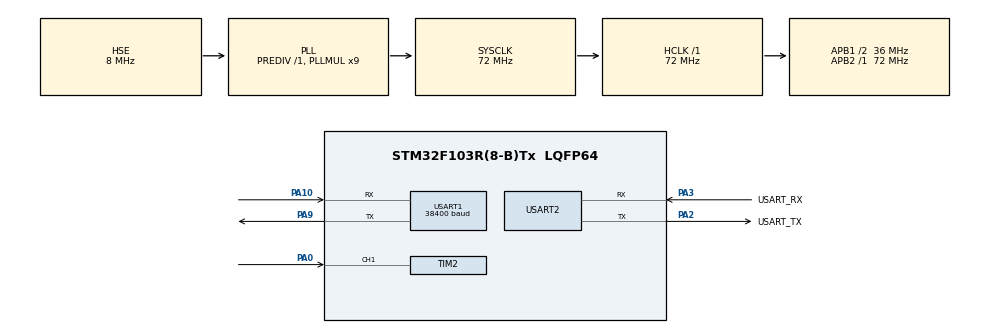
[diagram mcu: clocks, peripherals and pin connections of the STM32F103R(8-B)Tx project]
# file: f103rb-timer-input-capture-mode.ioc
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Mcu.Family=STM32F1
Mcu.Name=STM32F103R(8-B)Tx
Mcu.Package=LQFP64
NVIC.PriorityGroup=NVIC_PRIORITYGROUP_4
NVIC.TIM2_IRQn=true\:0\:0\:false\:false\:true\:true\:true\:true
PA0-WKUP.Signal=S_TIM2_CH1_ETR
PA10.Mode=Asynchronous
PA10.Signal=USART1_RX
PA13.GPIO_Label=TMS
PA13.Mode=Serial_Wire
PA13.Signal=SYS_JTMS-SWDIO
PA14.GPIO_Label=TCK
PA14.Mode=Serial_Wire
PA14.Signal=SYS_JTCK-SWCLK
PA2.GPIO_Label=USART_TX
PA2.GPIO_Mode=GPIO_MODE_AF_PP
PA2.GPIO_PuPd=GPIO_NOPULL
PA2.GPIO_Speed=GPIO_SPEED_FREQ_LOW
PA2.Mode=Asynchronous
PA2.Signal=USART2_TX
PA3.GPIO_Label=USART_RX
PA3.GPIO_Mode=GPIO_MODE_AF_PP
PA3.GPIO_PuPd=GPIO_NOPULL
PA3.GPIO_Speed=GPIO_SPEED_FREQ_LOW
PA3.Mode=Asynchronous
PA3.Signal=USART2_RX
PA9.Mode=Asynchronous
PA9.Signal=USART1_TX
PB3.GPIO_Label=SWO
PB3.Signal=SYS_JTDO-TRACESWO
PC14-OSC32_IN.Mode=LSE-External-Oscillator
PC14-OSC32_IN.Signal=RCC_OSC32_IN
PC15-OSC32_OUT.Mode=LSE-External-Oscillator
PC15-OSC32_OUT.Signal=RCC_OSC32_OUT
PD0-OSC_IN.Mode=HSE-External-Oscillator
PD0-OSC_IN.Signal=RCC_OSC_IN
PD1-OSC_OUT.Mode=HSE-External-Oscillator
PD1-OSC_OUT.Signal=RCC_OSC_OUT
ProjectManager.HeapSize=0x200
ProjectManager.StackSize=0x400
ProjectManager.TargetToolchain=STM32CubeIDE
RCC.AHBFreq_Value=72000000
RCC.APB1CLKDivider=RCC_HCLK_DIV2
RCC.APB1Freq_Value=36000000
RCC.APB1TimFreq_Value=72000000
RCC.APB2Freq_Value=72000000
RCC.APB2TimFreq_Value=72000000
RCC.HCLKFreq_Value=72000000
RCC.PLLMUL=RCC_PLL_MUL9
RCC.PLLSourceVirtual=RCC_PLLSOURCE_HSE
RCC.RTCClockSelection=RCC_RTCCLKSOURCE_LSE
RCC.SYSCLKFreq_VALUE=72000000
RCC.SYSCLKSource=RCC_SYSCLKSOURCE_PLLCLK
RCC.USBFreq_Value=72000000
SH.S_TIM2_CH1_ETR.0=TIM2_CH1,Input_Capture1_from_TI1
TIM2.AutoReloadPreload=TIM_AUTORELOAD_PRELOAD_ENABLE
TIM2.Channel-Input_Capture1_from_TI1=TIM_CHANNEL_1
USART1.BaudRate=38400
USART1.VirtualMode=VM_ASYNC
USART2.VirtualMode=VM_ASYNC
VP_TIM2_VS_ClockSourceINT.Mode=Internal
board=NUCLEO-F103RB

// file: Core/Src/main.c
/* USER CODE BEGIN Header */
/**
  ******************************************************************************
  * @file           : main.c
  * @brief          : Main program body
  ******************************************************************************
  * @attention
  *
  * Copyright (c) 2024 STMicroelectronics.
  * All rights reserved.
  *
  * This software is licensed under terms that can be found in the LICENSE file
  * in the root directory of this software component.
  * If no LICENSE file comes with this software, it is provided AS-IS.
  *
  ******************************************************************************
  */
/* USER CODE END Header */
#include "main.h"

/* USER CODE BEGIN PD */
#define IDLE  0x00
#define DONE  0x01
#define FCLK  72000000UL
/* USER CODE END PD */

TIM_HandleTypeDef htim2;

UART_HandleTypeDef huart1;
UART_HandleTypeDef huart2;

/* USER CODE BEGIN PV */
volatile uint8_t ic_state = IDLE;
volatile uint8_t MSG[35] = {'\0'};

volatile uint32_t time_t1;
volatile uint32_t time_t2;
volatile uint32_t ticks;
volatile uint16_t timer_overflow;
volatile uint32_t frequency;

/* USER CODE END PV */

void SystemClock_Config(void);
static void MX_GPIO_Init(void);
static void MX_TIM2_Init(void);
static void MX_USART2_UART_Init(void);
static void MX_USART1_UART_Init(void);

/* USER CODE BEGIN 0 */
void HAL_TIM_PeriodElapsedCallback(TIM_HandleTypeDef* htim) {
  timer_overflow ++;
}

void HAL_TIM_IC_CaptureCallback(TIM_HandleTypeDef* htim) {

  switch (ic_state) {
    case IDLE: {
      time_t1 = TIM2->CCR1;
      timer_overflow = 0;
      ic_state = DONE;
    }
    break;

    case DONE: {
      time_t2 = TIM2->CCR1;
      ticks = (time_t2 + (65536 * timer_overflow)) - time_t1;
      frequency = (uint32_t)(FCLK / ticks);

      if (frequency > 0) {
        sprintf(MSG, "Frequency = %lu Hz\n\r", frequency);
        HAL_UART_Transmit(&huart1, MSG, sizeof(MSG), 100);
      }

      ic_state = IDLE;
    }
    break;
  }
}
/* USER CODE END 0 */

int main(void)
{

  /* MCU Configuration--------------------------------------------------------*/

  /* Reset of all peripherals, Initializes the Flash interface and the Systick. */
  HAL_Init();

  /* Configure the system clock */
  SystemClock_Config();

  /* Initialize all configured peripherals */
  MX_GPIO_Init();
  MX_TIM2_Init();
  MX_USART2_UART_Init();
  MX_USART1_UART_Init();
  /* USER CODE BEGIN 2 */
  HAL_TIM_Base_Start_IT(&htim2);
  HAL_TIM_IC_Start_IT(&htim2, TIM_CHANNEL_1);
  /* USER CODE END 2 */

  /* Infinite loop */
  while (1)
  {

  }
}

void SystemClock_Config(void)
{
  RCC_OscInitTypeDef RCC_OscInitStruct = {0};
  RCC_ClkInitTypeDef RCC_ClkInitStruct = {0};

  /** Initializes the RCC Oscillators according to the specified parameters
  * in the RCC_OscInitTypeDef structure.
  */
  RCC_OscInitStruct.OscillatorType = RCC_OSCILLATORTYPE_HSE;
  RCC_OscInitStruct.HSEState = RCC_HSE_ON;
  RCC_OscInitStruct.HSEPredivValue = RCC_HSE_PREDIV_DIV1;
  RCC_OscInitStruct.HSIState = RCC_HSI_ON;
  RCC_OscInitStruct.PLL.PLLState = RCC_PLL_ON;
  RCC_OscInitStruct.PLL.PLLSource = RCC_PLLSOURCE_HSE;
  RCC_OscInitStruct.PLL.PLLMUL = RCC_PLL_MUL9;
  if (HAL_RCC_OscConfig(&RCC_OscInitStruct) != HAL_OK)
  {
    Error_Handler();
  }

  /** Initializes the CPU, AHB and APB buses clocks
  */
  RCC_ClkInitStruct.ClockType = RCC_CLOCKTYPE_HCLK|RCC_CLOCKTYPE_SYSCLK
                              |RCC_CLOCKTYPE_PCLK1|RCC_CLOCKTYPE_PCLK2;
  RCC_ClkInitStruct.SYSCLKSource = RCC_SYSCLKSOURCE_PLLCLK;
  RCC_ClkInitStruct.AHBCLKDivider = RCC_SYSCLK_DIV1;
  RCC_ClkInitStruct.APB1CLKDivider = RCC_HCLK_DIV2;
  RCC_ClkInitStruct.APB2CLKDivider = RCC_HCLK_DIV1;

  if (HAL_RCC_ClockConfig(&RCC_ClkInitStruct, FLASH_LATENCY_2) != HAL_OK)
  {
    Error_Handler();
  }
}

static void MX_TIM2_Init(void)
{

  TIM_ClockConfigTypeDef sClockSourceConfig = {0};
  TIM_MasterConfigTypeDef sMasterConfig = {0};
  TIM_IC_InitTypeDef sConfigIC = {0};

  htim2.Instance = TIM2;
  htim2.Init.Prescaler = 0;
  htim2.Init.CounterMode = TIM_COUNTERMODE_UP;
  htim2.Init.Period = 65535;
  htim2.Init.ClockDivision = TIM_CLOCKDIVISION_DIV1;
  htim2.Init.AutoReloadPreload = TIM_AUTORELOAD_PRELOAD_ENABLE;
  if (HAL_TIM_Base_Init(&htim2) != HAL_OK)
  {
    Error_Handler();
  }
  sClockSourceConfig.ClockSource = TIM_CLOCKSOURCE_INTERNAL;
  if (HAL_TIM_ConfigClockSource(&htim2, &sClockSourceConfig) != HAL_OK)
  {
    Error_Handler();
  }
  if (HAL_TIM_IC_Init(&htim2) != HAL_OK)
  {
    Error_Handler();
  }
  sMasterConfig.MasterOutputTrigger = TIM_TRGO_RESET;
  sMasterConfig.MasterSlaveMode = TIM_MASTERSLAVEMODE_DISABLE;
  if (HAL_TIMEx_MasterConfigSynchronization(&htim2, &sMasterConfig) != HAL_OK)
  {
    Error_Handler();
  }
  sConfigIC.ICPolarity = TIM_INPUTCHANNELPOLARITY_RISING;
  sConfigIC.ICSelection = TIM_ICSELECTION_DIRECTTI;
  sConfigIC.ICPrescaler = TIM_ICPSC_DIV1;
  sConfigIC.ICFilter = 0;
  if (HAL_TIM_IC_ConfigChannel(&htim2, &sConfigIC, TIM_CHANNEL_1) != HAL_OK)
  {
    Error_Handler();
  }

}

static void MX_USART1_UART_Init(void)
{

  huart1.Instance = USART1;
  huart1.Init.BaudRate = 38400;
  huart1.Init.WordLength = UART_WORDLENGTH_8B;
  huart1.Init.StopBits = UART_STOPBITS_1;
  huart1.Init.Parity = UART_PARITY_NONE;
  huart1.Init.Mode = UART_MODE_TX_RX;
  huart1.Init.HwFlowCtl = UART_HWCONTROL_NONE;
  huart1.Init.OverSampling = UART_OVERSAMPLING_16;
  if (HAL_UART_Init(&huart1) != HAL_OK)
  {
    Error_Handler();
  }

}

static void MX_USART2_UART_Init(void)
{

  huart2.Instance = USART2;
  huart2.Init.BaudRate = 115200;
  huart2.Init.WordLength = UART_WORDLENGTH_8B;
  huart2.Init.StopBits = UART_STOPBITS_1;
  huart2.Init.Parity = UART_PARITY_NONE;
  huart2.Init.Mode = UART_MODE_TX_RX;
  huart2.Init.HwFlowCtl = UART_HWCONTROL_NONE;
  huart2.Init.OverSampling = UART_OVERSAMPLING_16;
  if (HAL_UART_Init(&huart2) != HAL_OK)
  {
    Error_Handler();
  }

}

static void MX_GPIO_Init(void)
{

  /* GPIO Ports Clock Enable */
  __HAL_RCC_GPIOC_CLK_ENABLE();
  __HAL_RCC_GPIOD_CLK_ENABLE();
  __HAL_RCC_GPIOA_CLK_ENABLE();
  __HAL_RCC_GPIOB_CLK_ENABLE();

}

void Error_Handler(void)
{
  __disable_irq();
  while (1)
  {
  }
}
